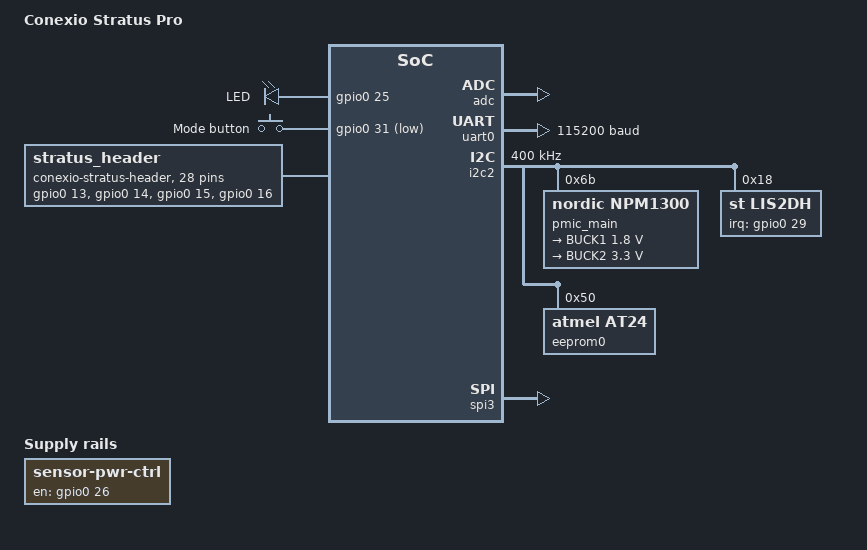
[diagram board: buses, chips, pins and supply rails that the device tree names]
/*
 * Copyright (c) 2024 Conexio Technologies, Inc
 *
 * SPDX-License-Identifier: Apache-2.0
 */
#include "conexio_stratus_pro_common-pinctrl.dtsi"
#include <zephyr/dt-bindings/input/input-event-codes.h>

/ {
	model = "Conexio Stratus Pro";
	compatible = "conexio,stratus_pro";

	chosen {
		zephyr,console = &uart0;
		zephyr,shell-uart = &uart0;
		zephyr,uart-mcumgr = &uart0;
	};

	leds {
		compatible = "gpio-leds";
		led0: led_0 {
			gpios = <&gpio0 25 GPIO_ACTIVE_HIGH>;
			label = "LED";
		};
	};

	buttons {
		compatible = "gpio-keys";
		button0: button_0 {
			gpios = <&gpio0 31 (GPIO_PULL_UP | GPIO_ACTIVE_LOW)>;
			label = "Mode button";
			zephyr,code = <INPUT_KEY_0>;
		};
	};

	stratus_header: connector {
		compatible = "conexio-stratus-header";
		#gpio-cells = <2>;
		gpio-map-mask = <0xffffffff 0xffffffc0>;
		gpio-map-pass-thru = <0 0x3f>;
		gpio-map = <0 0 &gpio0 13 0>,	/* A0 */
			   <1 0 &gpio0 14 0>,	/* A1 */
			   <2 0 &gpio0 15 0>,	/* A2 */
			   <3 0 &gpio0 16 0>,	/* A3 */
			   <4 0 &gpio0 17 0>,	/* A4 */
			   <5 0 &gpio0 18 0>,	/* A5 */
			   <6 0 &gpio0 19 0>,	/* SCK */
			   <7 0 &gpio0 20 0>,	/* MOSI */
			   <8 0 &gpio0 21 0>,	/* MISO */
			   <9 0 &gpio0 22 0>,	/* D1 */
			   <10 0 &gpio0 23 0>,	/* D2 */
			   <11 0 &gpio0 24 0>,	/* D3 */
			   <12 0 &gpio0 26 0>,	/* D4 */
			   <13 0 &gpio0 27 0>,	/* RXD */
			   <14 0 &gpio0 28 0>,	/* TXD */
			   <15 0 &gpio0 0 0>,	/* D5 */
			   <16 0 &gpio0 1 0>,	/* D6 */
			   <17 0 &gpio0 2 0>,	/* D7 */
			   <18 0 &gpio0 3 0>,	/* D8 */
			   <19 0 &gpio0 4 0>,	/* D9 */
			   <20 0 &gpio0 5 0>,	/* D10 */
			   <21 0 &gpio0 6 0>,	/* D11 */
			   <22 0 &gpio0 7 0>,	/* D12 */
			   <23 0 &gpio0 8 0>,	/* D13 */
			   <24 0 &gpio0 9 0>,	/* D14 */
			   <25 0 &gpio0 10 0>,	/* D15 */
			   <26 0 &gpio0 11 0>,	/* D16 */
			   <27 0 &gpio0 12 0>;	/* D17 */
	};

	/* These aliases are provided for compatibility with samples */
	aliases {
		led0 = &led0;
		sw0 = &button0;
		bootloader-led0 = &led0;
		mcuboot-button0 = &button0;
		mcuboot-led0 = &led0;
		watchdog0 = &wdt0;
	};

	sensor-pwr-ctrl {
		compatible = "regulator-fixed";
		regulator-name = "sensor-pwr-ctrl";
		enable-gpios = <&gpio0 26 GPIO_ACTIVE_HIGH>;
		regulator-boot-on;
	};
};

&adc {
	status = "okay";
};

&gpiote {
	status = "okay";
};

&gpio0 {
	status = "okay";
};

&uart0 {
	status = "okay";
	current-speed = <115200>;
	pinctrl-0 = <&uart0_default>;
	pinctrl-1 = <&uart0_sleep>;
	pinctrl-names = "default", "sleep";
};

&i2c2 {
	compatible = "nordic,nrf-twim";
	status = "okay";
	pinctrl-0 = <&i2c2_default>;
	pinctrl-1 = <&i2c2_sleep>;
	pinctrl-names = "default", "sleep";
	clock-frequency = <I2C_BITRATE_FAST>;

	pmic_main: npm1300@6b {
		compatible = "nordic,npm1300";
		reg = <0x6b>;
		pmic_charger: charger {
			compatible = "nordic,npm1300-charger";
			term-microvolt = <4150000>;
			term-warm-microvolt = <4000000>;
			current-microamp = <150000>;
			dischg-limit-microamp = <1000000>;
			vbus-limit-microamp = <500000>;
			thermistor-ohms = <10000>;
			thermistor-beta = <3380>;
			charging-enable;
		};
		regulators {
			compatible = "nordic,npm1300-regulator";
			BUCK1 {
				regulator-min-microvolt = <1800000>;
				regulator-max-microvolt = <1800000>;
				regulator-boot-on;
			};
			BUCK2 {
				regulator-min-microvolt = <3300000>;
				regulator-max-microvolt = <3300000>;
				regulator-boot-on;
			};
		};
	};

	lis2dh: lis2dh@18 {
		compatible = "st,lis2dh";
		reg = <0x18>;
		irq-gpios = <&gpio0 29 GPIO_ACTIVE_HIGH>;
		disconnect-sdo-sa0-pull-up;
	};

	eeprom0: eeprom@50 {
		/* 24CW160 (16 kbit eeprom) */
		/* 0x8000 config register not accessible! If required, set size to 64K */
		compatible = "atmel,at24";
		reg = <0x50>;
		size = <DT_SIZE_K(2)>;
		pagesize = <32>;
		address-width = <16>;
		timeout = <5>;
	};
};

&spi3 {
	compatible = "nordic,nrf-spim";
	status = "okay";
	cs-gpios = <&stratus_header 16 GPIO_ACTIVE_LOW>; /* D1 */
	pinctrl-0 = <&spi3_default>;
	pinctrl-1 = <&spi3_sleep>;
	pinctrl-names = "default", "sleep";
};

&flash0 {
	partitions {
		compatible = "fixed-partitions";
		#address-cells = <1>;
		#size-cells = <1>;

		boot_partition: partition@0 {
			label = "mcuboot";
			reg = <0x00000000 0x10000>;
		};
		slot0_partition: partition@10000 {
			label = "image-0";
		};
		slot0_ns_partition: partition@50000 {
			label = "image-0-nonsecure";
		};
		slot1_partition: partition@80000 {
			label = "image-1";
		};
		slot1_ns_partition: partition@c0000 {
			label = "image-1-nonsecure";
		};
		scratch_partition: partition@f0000 {
			label = "image-scratch";
			reg = <0x000f0000 0xa000>;
		};
		storage_partition: partition@fa000 {
			label = "storage";
			reg = <0x000fa000 0x00006000>;
		};
	};
};

/ {

	reserved-memory {
		#address-cells = <1>;
		#size-cells = <1>;
		ranges;

		sram0_s: image_s@20000000 {
			/* Secure image memory */
		};

		sram0_modem: image_modem@20016000 {
			/* Modem (shared) memory */
		};

		sram0_ns: image_ns@20020000 {
			/* Non-Secure image memory */
		};
	};
};

/* Include partition configuration file */
#include "conexio_stratus_pro_partition_conf.dtsi"
